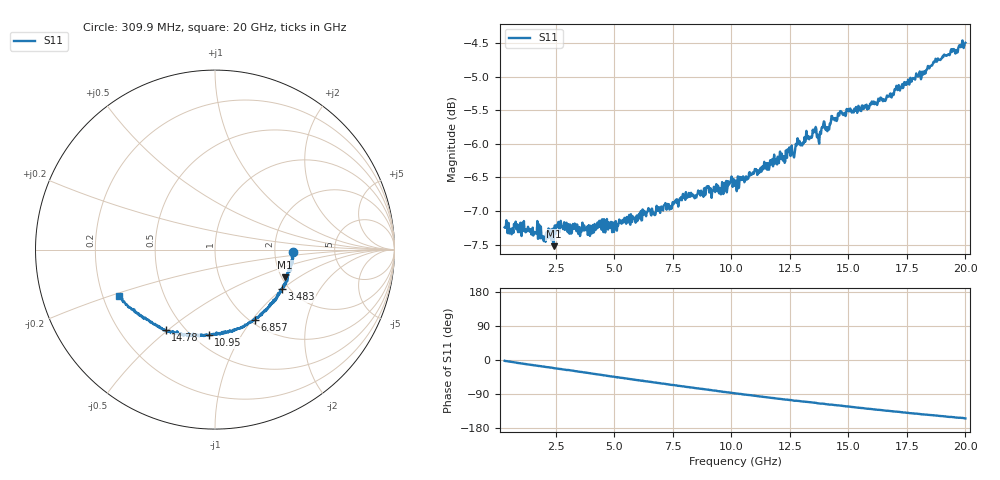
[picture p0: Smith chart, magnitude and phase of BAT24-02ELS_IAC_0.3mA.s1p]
! Infineon Technologies  Discrete & RF Semiconductors
! BAT24-02ELS
! IAC = 0.3 mA
! One-Port S-Parameters
# Hz  S  MA  R  50
!f  S11
!Hz  Mag  Ang
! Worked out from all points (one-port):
!   789 points, 309.9 MHz to 20 GHz, reference 50 ohm
!   lowest |S11| = -7.5 dB at 2.409 GHz (marker M1), VSWR 2.45, Z = 104 - j39.1 ohm
!   |S11| at or under -10 dB: nowhere
!   S11 on the Smith chart (normalised r, x): 309.9 MHz: 2.53, -0.10; 3.483 GHz: 1.84, -1.00; 6.857 GHz: 1.05, -1.03; 10.95 GHz: 0.60, -0.73; 14.78 GHz: 0.40, -0.49; 20 GHz: 0.27, -0.21
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3.0985e8  0.4344 -2.0
1.134438e9  0.4391 -10.0
1.984012e9  0.4242 -17.2
2.4088e9  0.4206 -21.5
2.783612e9  0.4342 -24.9
3.483262e9  0.4341 -30.7
4.432788e9  0.4395 -39.4
5.232388e9  0.4379 -46.6
6.856575e9  0.4492 -60.5
7.70615e9  0.4529 -67.8
8.980512e9  0.4661 -78.0
1.015492e10  0.4671 -88.1
1.095452e10  0.4761 -94.1
1.175412e10  0.4882 -100.2
1.262869e10  0.4924 -106.9
1.282859e10  0.5059 -107.7
1.355322e10  0.5138 -112.6
1.372814e10  0.5038 -114.7
1.392804e10  0.5185 -115.3
1.410295e10  0.512 -117.0
1.432784e10  0.5227 -118.1
1.477761e10  0.5265 -121.4
1.507746e10  0.5323 -123.2
1.652674e10  0.5407 -133.2
1.710145e10  0.5494 -136.7
1.755122e10  0.5594 -139.2
1.875062e10  0.5794 -146.6
2e10  0.5958 -154.1
